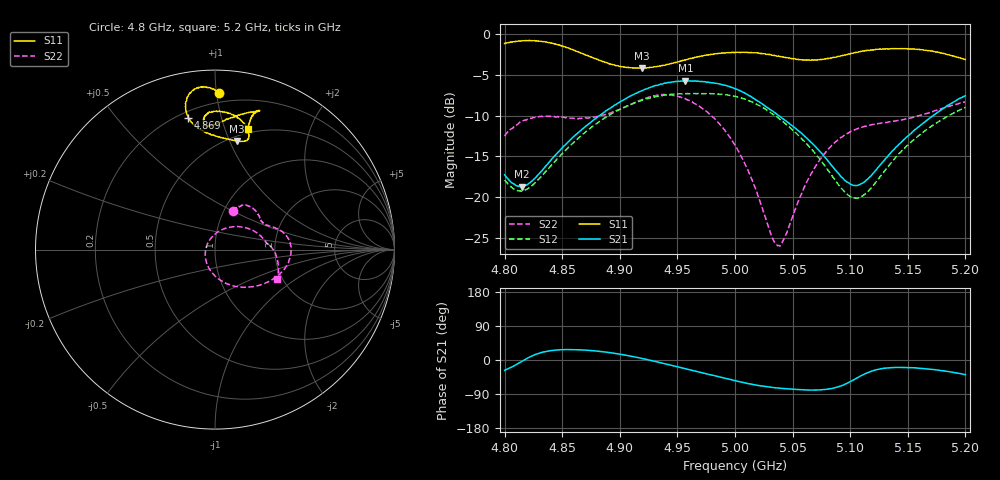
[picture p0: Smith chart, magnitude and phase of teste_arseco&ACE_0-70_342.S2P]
! Network Analyzer HP8722D
! Hewlett-Packard
! Data name: Linha & Wilkinson
! Saver's name: Rodrigo Anjos
! Comments: Teste da utilização de aquisição
! continua pelo VNA HP8722D
! Time and date: 8/5/2025 15:36
!  Frequency  S11  S21  S12  S22
# HZ  S  MA R 50
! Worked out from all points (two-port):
!   401 points, 4.8 GHz to 5.2 GHz, reference 50 ohm
!   highest |S21| = -5.72 dB at 4.957 GHz (marker M1); lowest = -18.7 dB at 4.815 GHz (marker M2)
!   |S21| within 3 dB of the highest: 4.896 GHz to 5.025 GHz (129.4 MHz wide, 2.61 % of centre); 5.185159 GHz to end of sweep
!   lowest |S11| = -4.2 dB at 4.919 GHz (marker M3), VSWR 4.22, Z = 27.3 + j53.3 ohm
!   |S11| at or under -10 dB: nowhere
!   |S22| runs from -26.0 to -7.4 dB; largest |S21 - S12| = 0.89
!   S11 on the Smith chart (normalised r, x): 4.8 GHz: 0.14, +1.02; 4.869 GHz: 0.24, +0.79; 5.2 GHz: 0.46, +1.20
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4.8e9  0.8724 88.6  0.1372 -27.3  0.1273 100.2  0.237 64.6
4.815e9  0.905 92.9  0.1163 -3.3  0.1092 121.2  0.2921 58.0
4.844e9  0.8666 100.1  0.1809 25.9  0.1662 149.9  0.3104 40.3
4.867e9  0.7597 101.5  0.26 26.4  0.2396 153.6  0.3051 30.5
4.869e9  0.7493 101.4  0.2669 26.2  0.2465 153.5  0.3041 29.8
4.896e9  0.6412 92.1  0.3675 17.4  0.3335 147.5  0.3357 22.7
4.919e9  0.6169 78.5  0.4486 4.4  0.3925 138.1  0.3956 13.3
4.934e9  0.6347 73.9  0.4877 -6.0  0.4166 129.7  0.4215 3.3
4.957e9  0.6935 75.0  0.5174 -23.0  0.4305 115.2  0.4001 -16.1
4.981e9  0.7497 81.2  0.5018 -40.5  0.4305 100.1  0.3083 -41.0
5e9  0.7695 87.4  0.4615 -54.6  0.4158 86.5  0.2075 -68.6
5.019e9  0.7654 92.4  0.3922 -66.7  0.3703 73.3  0.1071 -109.3
5.032e9  0.7393 94.6  0.3388 -72.3  0.3258 66.4  0.05729 -160.4
5.037e9  0.7286 94.9  0.3192 -73.6  0.308 64.0  0.05047 167.4
5.043e9  0.7169 95.2  0.2972 -75.5  0.2848 61.9  0.05656 130.0
5.067e9  0.694 92.9  0.2142 -79.3  0.1953 57.8  0.1426 59.4
5.083e9  0.7107 87.8  0.1591 -75.8  0.1392 63.0  0.204 37.2
5.103e9  0.7643 79.4  0.118 -52.1  0.09908 89.8  0.2571 19.7
5.114e9  0.7898 75.6  0.1273 -34.8  0.1059 109.7  0.2728 13.7
5.134e9  0.8084 72.5  0.1829 -20.5  0.1575 125.9  0.2892 7.5
5.17e9  0.7844 74.1  0.3078 -24.5  0.2705 120.8  0.3321 -2.2
5.2e9  0.6967 74.8  0.4177 -38.6  0.3551 109.1  0.3836 -25.3
